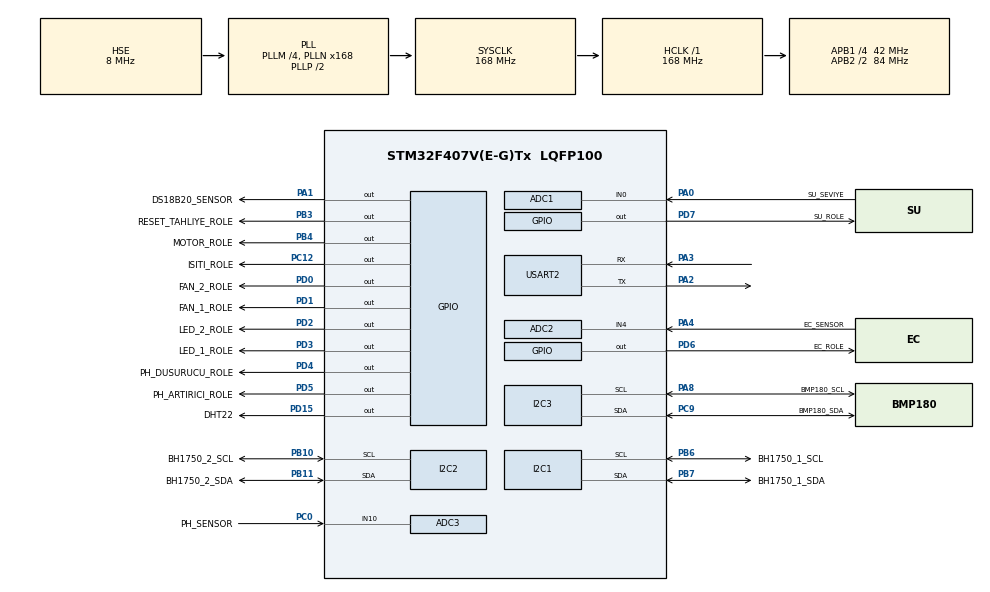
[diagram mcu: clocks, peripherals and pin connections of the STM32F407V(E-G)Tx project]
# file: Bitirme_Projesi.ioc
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ADC1.Channel-0\#ChannelRegularConversion=ADC_CHANNEL_0
ADC1.ClockPrescaler=ADC_CLOCK_SYNC_PCLK_DIV4
ADC1.NbrOfConversionFlag=1
ADC1.Rank-0\#ChannelRegularConversion=1
ADC1.SamplingTime-0\#ChannelRegularConversion=ADC_SAMPLETIME_3CYCLES
ADC1.master=1
ADC2.Channel-4\#ChannelRegularConversion=ADC_CHANNEL_4
ADC2.ClockPrescaler=ADC_CLOCK_SYNC_PCLK_DIV4
ADC2.NbrOfConversionFlag=1
ADC2.Rank-4\#ChannelRegularConversion=1
ADC2.SamplingTime-4\#ChannelRegularConversion=ADC_SAMPLETIME_3CYCLES
ADC3.Channel-1\#ChannelRegularConversion=ADC_CHANNEL_10
ADC3.ClockPrescaler=ADC_CLOCK_SYNC_PCLK_DIV4
ADC3.NbrOfConversionFlag=1
ADC3.Rank-1\#ChannelRegularConversion=1
ADC3.SamplingTime-1\#ChannelRegularConversion=ADC_SAMPLETIME_3CYCLES
I2C1.I2C_Mode=I2C_Fast
Mcu.Family=STM32F4
Mcu.Name=STM32F407V(E-G)Tx
Mcu.Package=LQFP100
NVIC.PriorityGroup=NVIC_PRIORITYGROUP_4
PA0-WKUP.GPIO_Label=SU_SEVIYE
PA0-WKUP.Signal=ADCx_IN0
PA1.GPIO_Label=DS18B20_SENSOR
PA1.Signal=GPIO_Output
PA13.Mode=Serial_Wire
PA13.Signal=SYS_JTMS-SWDIO
PA14.Mode=Serial_Wire
PA14.Signal=SYS_JTCK-SWCLK
PA2.Mode=Asynchronous
PA2.Signal=USART2_TX
PA3.Mode=Asynchronous
PA3.Signal=USART2_RX
PA4.GPIO_Label=EC_SENSOR
PA4.Signal=ADCx_IN4
PA8.GPIO_Label=BMP180_SCL
PA8.Mode=I2C
PA8.Signal=I2C3_SCL
PB10.GPIO_Label=BH1750_2_SCL
PB10.Mode=I2C
PB10.Signal=I2C2_SCL
PB11.GPIO_Label=BH1750_2_SDA
PB11.Mode=I2C
PB11.Signal=I2C2_SDA
PB3.GPIO_Label=RESET_TAHLIYE_ROLE
PB3.Signal=GPIO_Output
PB4.GPIO_Label=MOTOR_ROLE
PB4.Signal=GPIO_Output
PB6.GPIO_Label=BH1750_1_SCL
PB6.Mode=I2C
PB6.Signal=I2C1_SCL
PB7.GPIO_Label=BH1750_1_SDA
PB7.Mode=I2C
PB7.Signal=I2C1_SDA
PC0.GPIO_Label=PH_SENSOR
PC0.Signal=ADCx_IN10
PC12.GPIO_Label=ISITI_ROLE
PC12.Signal=GPIO_Output
PC9.GPIO_Label=BMP180_SDA
PC9.Mode=I2C
PC9.Signal=I2C3_SDA
PD0.GPIO_Label=FAN_2_ROLE
PD0.Signal=GPIO_Output
PD1.GPIO_Label=FAN_1_ROLE
PD1.Signal=GPIO_Output
PD15.GPIO_Label=DHT22
PD15.GPIO_ModeDefaultOutputPP=GPIO_MODE_OUTPUT_OD
PD15.GPIO_PuPd=GPIO_NOPULL
PD15.Signal=GPIO_Output
PD2.GPIO_Label=LED_2_ROLE
PD2.Signal=GPIO_Output
PD3.GPIO_Label=LED_1_ROLE
PD3.Signal=GPIO_Output
PD4.GPIO_Label=PH_DUSURUCU_ROLE
PD4.Signal=GPIO_Output
PD5.GPIO_Label=PH_ARTIRICI_ROLE
PD5.Signal=GPIO_Output
PD6.GPIO_Label=EC_ROLE
PD6.Signal=GPIO_Output
PD7.GPIO_Label=SU_ROLE
PD7.Signal=GPIO_Output
PH0-OSC_IN.Mode=HSE-External-Oscillator
PH0-OSC_IN.Signal=RCC_OSC_IN
PH1-OSC_OUT.Mode=HSE-External-Oscillator
PH1-OSC_OUT.Signal=RCC_OSC_OUT
ProjectManager.HeapSize=0x200
ProjectManager.StackSize=0x400
ProjectManager.TargetToolchain=STM32CubeIDE
RCC.48MHZClocksFreq_Value=84000000
RCC.AHBFreq_Value=168000000
RCC.APB1CLKDivider=RCC_HCLK_DIV4
RCC.APB1Freq_Value=42000000
RCC.APB1TimFreq_Value=84000000
RCC.APB2CLKDivider=RCC_HCLK_DIV2
RCC.APB2Freq_Value=84000000
RCC.APB2TimFreq_Value=168000000
RCC.CortexFreq_Value=168000000
RCC.HCLKFreq_Value=168000000
RCC.HSE_VALUE=8000000
RCC.HSI_VALUE=16000000
RCC.LSE_VALUE=32768
RCC.PLLM=4
RCC.PLLN=168
RCC.PLLSourceVirtual=RCC_PLLSOURCE_HSE
RCC.SYSCLKFreq_VALUE=168000000
RCC.SYSCLKSource=RCC_SYSCLKSOURCE_PLLCLK
RCC.VCOOutputFreq_Value=336000000
SH.ADCx_IN0.0=ADC1_IN0,IN0
SH.ADCx_IN10.0=ADC3_IN10,IN10
SH.ADCx_IN4.0=ADC2_IN4,IN4
TIM6.Period=0xffff-1
TIM6.Prescaler=50-1
USART2.VirtualMode=VM_ASYNC
VP_TIM6_VS_ClockSourceINT.Mode=Enable_Timer
board=custom

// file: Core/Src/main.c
/* USER CODE BEGIN Header */
/**
  ******************************************************************************
  * @file           : main.c
  * @brief          : Main program body
  ******************************************************************************
  * @attention
  *
  * Copyright (c) 2024 STMicroelectronics.
  * All rights reserved.
  *
  * This software is licensed under terms that can be found in the LICENSE file
  * in the root directory of this software component.
  * If no LICENSE file comes with this software, it is provided AS-IS.
  *
  ******************************************************************************
  */
/* USER CODE END Header */
#include "main.h"

/* USER CODE BEGIN Includes */

#include "DS18B20.h"
#include "bh1750.h"
#include "BMP180.h"
#include "dht22.h"
#include "EC.h"

/* USER CODE END Includes */

/* USER CODE BEGIN PM */

/************ BİTKİLERİN OPTİMUM KO�?ULLARI ***************/

#define MARUL_PH_MIN 				 (float)(6.0)
#define MARUL_PH_MAX 				 (float)(7.0)
#define MARUL_EC_MIN 				 (float)(100)
#define MARUL_EC_MAX 				 (float)(260)
#define MARUL_ORTAM_SICAKLIK_MIN 	 (float)(18)
#define MARUL_ORTAM_SICAKLIK_MAX 	 (float)(30)
#define MARUL_ORTAM_NEM_MIN 		 (float)(50)
#define MARUL_ORTAM_NEM_MAX 	     (float)(70)

#define DOMATES_PH_MIN 				 (float)(5.5)
#define DOMATES_PH_MAX 				 (float)(7.0)
#define DOMATES_EC_MIN 				 (float)(100)
#define DOMATES_EC_MAX 				 (float)(150)
#define DOMATES_ORTAM_SICAKLIK_MIN 	 (float)(10.0)
#define DOMATES_ORTAM_SICAKLIK_MAX 	 (float)(30.0)
#define DOMATES_ORTAM_NEM_MIN 		 (float)(60.0)
#define DOMATES_ORTAM_NEM_MAX 		 (float)(70.0)

#define BIBER_PH_MIN 				 (float)(6.0)
#define BIBER_PH_MAX 				 (float)(6.5)
#define BIBER_EC_MIN 				 (float)(90)
#define BIBER_EC_MAX 				 (float)(150)
#define BIBER_ORTAM_SICAKLIK_MIN 	 (float)(15.0)
#define BIBER_ORTAM_SICAKLIK_MAX 	 (float)(35.0)
#define BIBER_ORTAM_NEM_MIN 		 (float)(55.0)
#define BIBER_ORTAM_NEM_MAX 		 (float)(75.0)

#define CILEK_PH_MIN 				 (float)(5.5)
#define CILEK_PH_MAX 				 (float)(6.5)
#define CILEK_EC_MIN 				 (float)(80)
#define CILEK_EC_MAX 				 (float)(110)
#define CILEK_ORTAM_SICAKLIK_MIN 	 (float)(10.0)
#define CILEK_ORTAM_SICAKLIK_MAX 	 (float)(28.0)
#define CILEK_ORTAM_NEM_MIN 		 (float)(60.0)
#define CILEK_ORTAM_NEM_MAX 		 (float)(80.0)

#define SALATALIK_PH_MIN 		     (float)(5.8)
#define SALATALIK_PH_MAX 			 (float)(6.5)
#define SALATALIK_EC_MIN 			 (float)(90)
#define SALATALIK_EC_MAX 			 (float)(150)
#define SALATALIK_ORTAM_SICAKLIK_MIN (float)(15.0)
#define SALATALIK_ORTAM_SICAKLIK_MAX (float)(28.0)
#define SALATALIK_ORTAM_NEM_MIN 	 (float)(55.0)
#define SALATALIK_ORTAM_NEM_MAX 	 (float)(80.0)

#define SU_SEVIYE_MAX				 (float)(2000)

/*******************************************************/

#define LED_16_SAAT  				(uint32_t)(57600000)
#define LED_24_SAAT 				(uint32_t)(86400000)

#define MOTOR_45_DK					(uint32_t)(2700000)
#define MOTOR_2_DK					(uint32_t)(12000)
#define MOTOR_60_DK					(uint32_t)(3600000)

#define FAN_1_DK					(uint32_t)(60000)
#define ISITICI_FAN_1DK				(uint32_t)(60000)
#define RESET_5_SN					(uint32_t)(5000)
#define MAX_ISIK_SIDDETI 			(uint32_t)(7000)

GPIO_PinState Led_Pin_Durum   = GPIO_PIN_SET;
GPIO_PinState Motor_Pin_Durum = GPIO_PIN_SET;

typedef enum
{
	MARUL 		= 1,
	CILEK 		= 2,
	DOMATES 	= 3,
	BIBER 		= 4,
	SALATALIK 	= 5
}Bitki_Cesitleri_t;

typedef struct
{
	float PH_MIN 			  ;
	float PH_MAX 			  ;
	float EC_MIN 			  ;
	float EC_MAX 			  ;
	float ORTAM_SICAKLIK_MIN  ;
	float ORTAM_SICAKLIK_MAX  ;
	float ORTAM_NEM_MIN 	  ;
	float ORTAM_NEM_MAX 	  ;
}Bitki_Parametreleri_t;

Bitki_Parametreleri_t Marul;
Bitki_Parametreleri_t Cilek;
Bitki_Parametreleri_t Domates;
Bitki_Parametreleri_t Biber;
Bitki_Parametreleri_t Salatalik;

typedef struct
{
	float Ortam_Nem			;
	float Ortam_Sicaklik	;
	float Isik_Siddeti_1	;
	float Isik_Siddeti_2	;
	float Su_Sicaklik		;
	float Su_Seviye			;
	float pH				;
	float EC				;
}Bitki_Anlik_Veriler_t;

Bitki_Anlik_Veriler_t Bitki_Anlik_Veriler;

/* USER CODE END PM */

ADC_HandleTypeDef hadc1;
ADC_HandleTypeDef hadc2;
ADC_HandleTypeDef hadc3;

I2C_HandleTypeDef hi2c1;
I2C_HandleTypeDef hi2c2;
I2C_HandleTypeDef hi2c3;

TIM_HandleTypeDef htim6;

UART_HandleTypeDef huart2;

/* USER CODE BEGIN PV */

uint8_t Bitki_Turu;

uint8_t gonderilecek_buffer[24];

//float  DHT22_Ortam_Sicaklik;

const float pH_katsayi_m = 1.6591;
const float pH_katsayi_b = 6.2307;

uint8_t ornek = 0;
uint32_t systicktimer_led   = 0;
uint32_t systicktimer_motor = 0;
uint32_t systictimer_isitici_fan = 0;
uint32_t systicktimer_fan = 0;
uint32_t systicktimer_reset = 0;

/* USER CODE END PV */

void SystemClock_Config(void);
static void MX_GPIO_Init(void);
static void MX_ADC1_Init(void);
static void MX_I2C1_Init(void);
static void MX_I2C2_Init(void);
static void MX_I2C3_Init(void);
static void MX_TIM6_Init(void);
static void MX_ADC2_Init(void);
static void MX_USART2_UART_Init(void);
static void MX_ADC3_Init(void);
/* USER CODE BEGIN PFP */

void Sistem_Init(void);
float Su_Seviye_Degeri_Okuma(void);
float PH_Deger_Okuma(void);
void Parse(void);
void Kontrol(void);
void Role_Kontrol(Bitki_Parametreleri_t* Bitki);
void Motor_Kontrol(void);
void Led_Kontrol(void);
void Anlik_Verileri_Sifirla();

/* USER CODE END PFP */

int main(void)
{

  /* MCU Configuration--------------------------------------------------------*/

  /* Reset of all peripherals, Initializes the Flash interface and the Systick. */
  HAL_Init();

  /* Configure the system clock */
  SystemClock_Config();

  /* Initialize all configured peripherals */
  MX_GPIO_Init();
  MX_ADC1_Init();
  MX_I2C1_Init();
  MX_I2C2_Init();
  MX_I2C3_Init();
  MX_TIM6_Init();
  MX_ADC2_Init();
  MX_USART2_UART_Init();
  MX_ADC3_Init();
  /* USER CODE BEGIN 2 */

  Sistem_Init();

  /* USER CODE END 2 */

  /* Infinite loop */
  while (1)
  {

    /* USER CODE BEGIN 3 */

	  HAL_UART_Receive(&huart2, &Bitki_Turu, 1, 100);

	  for(ornek = 0; ornek < 10; ornek++)
	  {

		 Bitki_Anlik_Veriler.Ortam_Sicaklik += BMP180_Sicaklik_Okuma();

		 Bitki_Anlik_Veriler.Isik_Siddeti_1 += BH1750_ReadLight(&hi2c1);
		 Bitki_Anlik_Veriler.Isik_Siddeti_2 += BH1750_ReadLight(&hi2c2);

		 Bitki_Anlik_Veriler.Su_Sicaklik += DS18B20_ReadValue();

		 Bitki_Anlik_Veriler.Su_Seviye += Su_Seviye_Degeri_Okuma();

		 Bitki_Anlik_Veriler.pH += PH_Deger_Okuma();

		 Bitki_Anlik_Veriler.EC += EC_Get_Value();
	  }

	  Bitki_Anlik_Veriler.Ortam_Sicaklik = Bitki_Anlik_Veriler.Ortam_Sicaklik / 10;

	  Bitki_Anlik_Veriler.Isik_Siddeti_1 = Bitki_Anlik_Veriler.Isik_Siddeti_1 / 10;
	  Bitki_Anlik_Veriler.Isik_Siddeti_2 = Bitki_Anlik_Veriler.Isik_Siddeti_2 / 10;

	  Bitki_Anlik_Veriler.Su_Sicaklik = Bitki_Anlik_Veriler.Su_Sicaklik / 10;

	  Bitki_Anlik_Veriler.Su_Seviye = Bitki_Anlik_Veriler.Su_Seviye / 10;

	  Bitki_Anlik_Veriler.pH = Bitki_Anlik_Veriler.pH / 10;

	  Bitki_Anlik_Veriler.EC = Bitki_Anlik_Veriler.EC / 10;

	  Parse();

	  HAL_UART_Transmit(&huart2, gonderilecek_buffer, sizeof(gonderilecek_buffer), 10);

	  Led_Kontrol();
	  Motor_Kontrol();

	  Anlik_Verileri_Sifirla();
  }

  /* USER CODE END 3 */
}

void SystemClock_Config(void)
{
  RCC_OscInitTypeDef RCC_OscInitStruct = {0};
  RCC_ClkInitTypeDef RCC_ClkInitStruct = {0};

  /** Configure the main internal regulator output voltage
  */
  __HAL_RCC_PWR_CLK_ENABLE();
  __HAL_PWR_VOLTAGESCALING_CONFIG(PWR_REGULATOR_VOLTAGE_SCALE1);

  /** Initializes the RCC Oscillators according to the specified parameters
  * in the RCC_OscInitTypeDef structure.
  */
  RCC_OscInitStruct.OscillatorType = RCC_OSCILLATORTYPE_HSE;
  RCC_OscInitStruct.HSEState = RCC_HSE_ON;
  RCC_OscInitStruct.PLL.PLLState = RCC_PLL_ON;
  RCC_OscInitStruct.PLL.PLLSource = RCC_PLLSOURCE_HSE;
  RCC_OscInitStruct.PLL.PLLM = 4;
  RCC_OscInitStruct.PLL.PLLN = 168;
  RCC_OscInitStruct.PLL.PLLP = RCC_PLLP_DIV2;
  RCC_OscInitStruct.PLL.PLLQ = 4;
  if (HAL_RCC_OscConfig(&RCC_OscInitStruct) != HAL_OK)
  {
    Error_Handler();
  }

  /** Initializes the CPU, AHB and APB buses clocks
  */
  RCC_ClkInitStruct.ClockType = RCC_CLOCKTYPE_HCLK|RCC_CLOCKTYPE_SYSCLK
                              |RCC_CLOCKTYPE_PCLK1|RCC_CLOCKTYPE_PCLK2;
  RCC_ClkInitStruct.SYSCLKSource = RCC_SYSCLKSOURCE_PLLCLK;
  RCC_ClkInitStruct.AHBCLKDivider = RCC_SYSCLK_DIV1;
  RCC_ClkInitStruct.APB1CLKDivider = RCC_HCLK_DIV4;
  RCC_ClkInitStruct.APB2CLKDivider = RCC_HCLK_DIV2;

  if (HAL_RCC_ClockConfig(&RCC_ClkInitStruct, FLASH_LATENCY_5) != HAL_OK)
  {
    Error_Handler();
  }
}

static void MX_ADC1_Init(void)
{

  ADC_ChannelConfTypeDef sConfig = {0};

  /** Configure the global features of the ADC (Clock, Resolution, Data Alignment and number of conversion)
  */
  hadc1.Instance = ADC1;
  hadc1.Init.ClockPrescaler = ADC_CLOCK_SYNC_PCLK_DIV4;
  hadc1.Init.Resolution = ADC_RESOLUTION_12B;
  hadc1.Init.ScanConvMode = DISABLE;
  hadc1.Init.ContinuousConvMode = DISABLE;
  hadc1.Init.DiscontinuousConvMode = DISABLE;
  hadc1.Init.ExternalTrigConvEdge = ADC_EXTERNALTRIGCONVEDGE_NONE;
  hadc1.Init.ExternalTrigConv = ADC_SOFTWARE_START;
  hadc1.Init.DataAlign = ADC_DATAALIGN_RIGHT;
  hadc1.Init.NbrOfConversion = 1;
  hadc1.Init.DMAContinuousRequests = DISABLE;
  hadc1.Init.EOCSelection = ADC_EOC_SINGLE_CONV;
  if (HAL_ADC_Init(&hadc1) != HAL_OK)
  {
    Error_Handler();
  }

  /** Configure for the selected ADC regular channel its corresponding rank in the sequencer and its sample time.
  */
  sConfig.Channel = ADC_CHANNEL_0;
  sConfig.Rank = 1;
  sConfig.SamplingTime = ADC_SAMPLETIME_3CYCLES;
  if (HAL_ADC_ConfigChannel(&hadc1, &sConfig) != HAL_OK)
  {
    Error_Handler();
  }

}

static void MX_ADC2_Init(void)
{

  ADC_ChannelConfTypeDef sConfig = {0};

  /** Configure the global features of the ADC (Clock, Resolution, Data Alignment and number of conversion)
  */
  hadc2.Instance = ADC2;
  hadc2.Init.ClockPrescaler = ADC_CLOCK_SYNC_PCLK_DIV4;
  hadc2.Init.Resolution = ADC_RESOLUTION_12B;
  hadc2.Init.ScanConvMode = DISABLE;
  hadc2.Init.ContinuousConvMode = DISABLE;
  hadc2.Init.DiscontinuousConvMode = DISABLE;
  hadc2.Init.ExternalTrigConvEdge = ADC_EXTERNALTRIGCONVEDGE_NONE;
  hadc2.Init.ExternalTrigConv = ADC_SOFTWARE_START;
  hadc2.Init.DataAlign = ADC_DATAALIGN_RIGHT;
  hadc2.Init.NbrOfConversion = 1;
  hadc2.Init.DMAContinuousRequests = DISABLE;
  hadc2.Init.EOCSelection = ADC_EOC_SINGLE_CONV;
  if (HAL_ADC_Init(&hadc2) != HAL_OK)
  {
    Error_Handler();
  }

  /** Configure for the selected ADC regular channel its corresponding rank in the sequencer and its sample time.
  */
  sConfig.Channel = ADC_CHANNEL_4;
  sConfig.Rank = 1;
  sConfig.SamplingTime = ADC_SAMPLETIME_3CYCLES;
  if (HAL_ADC_ConfigChannel(&hadc2, &sConfig) != HAL_OK)
  {
    Error_Handler();
  }

}

static void MX_ADC3_Init(void)
{

  ADC_ChannelConfTypeDef sConfig = {0};

  /** Configure the global features of the ADC (Clock, Resolution, Data Alignment and number of conversion)
  */
  hadc3.Instance = ADC3;
  hadc3.Init.ClockPrescaler = ADC_CLOCK_SYNC_PCLK_DIV4;
  hadc3.Init.Resolution = ADC_RESOLUTION_12B;
  hadc3.Init.ScanConvMode = DISABLE;
  hadc3.Init.ContinuousConvMode = DISABLE;
  hadc3.Init.DiscontinuousConvMode = DISABLE;
  hadc3.Init.ExternalTrigConvEdge = ADC_EXTERNALTRIGCONVEDGE_NONE;
  hadc3.Init.ExternalTrigConv = ADC_SOFTWARE_START;
  hadc3.Init.DataAlign = ADC_DATAALIGN_RIGHT;
  hadc3.Init.NbrOfConversion = 1;
  hadc3.Init.DMAContinuousRequests = DISABLE;
  hadc3.Init.EOCSelection = ADC_EOC_SINGLE_CONV;
  if (HAL_ADC_Init(&hadc3) != HAL_OK)
  {
    Error_Handler();
  }

  /** Configure for the selected ADC regular channel its corresponding rank in the sequencer and its sample time.
  */
  sConfig.Channel = ADC_CHANNEL_10;
  sConfig.Rank = 1;
  sConfig.SamplingTime = ADC_SAMPLETIME_3CYCLES;
  if (HAL_ADC_ConfigChannel(&hadc3, &sConfig) != HAL_OK)
  {
    Error_Handler();
  }

}

static void MX_I2C1_Init(void)
{

  hi2c1.Instance = I2C1;
  hi2c1.Init.ClockSpeed = 400000;
  hi2c1.Init.DutyCycle = I2C_DUTYCYCLE_2;
  hi2c1.Init.OwnAddress1 = 0;
  hi2c1.Init.AddressingMode = I2C_ADDRESSINGMODE_7BIT;
  hi2c1.Init.DualAddressMode = I2C_DUALADDRESS_DISABLE;
  hi2c1.Init.OwnAddress2 = 0;
  hi2c1.Init.GeneralCallMode = I2C_GENERALCALL_DISABLE;
  hi2c1.Init.NoStretchMode = I2C_NOSTRETCH_DISABLE;
  if (HAL_I2C_Init(&hi2c1) != HAL_OK)
  {
    Error_Handler();
  }

}

static void MX_I2C2_Init(void)
{

  hi2c2.Instance = I2C2;
  hi2c2.Init.ClockSpeed = 100000;
  hi2c2.Init.DutyCycle = I2C_DUTYCYCLE_2;
  hi2c2.Init.OwnAddress1 = 0;
  hi2c2.Init.AddressingMode = I2C_ADDRESSINGMODE_7BIT;
  hi2c2.Init.DualAddressMode = I2C_DUALADDRESS_DISABLE;
  hi2c2.Init.OwnAddress2 = 0;
  hi2c2.Init.GeneralCallMode = I2C_GENERALCALL_DISABLE;
  hi2c2.Init.NoStretchMode = I2C_NOSTRETCH_DISABLE;
  if (HAL_I2C_Init(&hi2c2) != HAL_OK)
  {
    Error_Handler();
  }

}

static void MX_I2C3_Init(void)
{

  hi2c3.Instance = I2C3;
  hi2c3.Init.ClockSpeed = 100000;
  hi2c3.Init.DutyCycle = I2C_DUTYCYCLE_2;
  hi2c3.Init.OwnAddress1 = 0;
  hi2c3.Init.AddressingMode = I2C_ADDRESSINGMODE_7BIT;
  hi2c3.Init.DualAddressMode = I2C_DUALADDRESS_DISABLE;
  hi2c3.Init.OwnAddress2 = 0;
  hi2c3.Init.GeneralCallMode = I2C_GENERALCALL_DISABLE;
  hi2c3.Init.NoStretchMode = I2C_NOSTRETCH_DISABLE;
  if (HAL_I2C_Init(&hi2c3) != HAL_OK)
  {
    Error_Handler();
  }

}

static void MX_TIM6_Init(void)
{

  TIM_MasterConfigTypeDef sMasterConfig = {0};

  htim6.Instance = TIM6;
  htim6.Init.Prescaler = 50-1;
  htim6.Init.CounterMode = TIM_COUNTERMODE_UP;
  htim6.Init.Period = 0xffff-1;
  htim6.Init.AutoReloadPreload = TIM_AUTORELOAD_PRELOAD_DISABLE;
  if (HAL_TIM_Base_Init(&htim6) != HAL_OK)
  {
    Error_Handler();
  }
  sMasterConfig.MasterOutputTrigger = TIM_TRGO_RESET;
  sMasterConfig.MasterSlaveMode = TIM_MASTERSLAVEMODE_DISABLE;
  if (HAL_TIMEx_MasterConfigSynchronization(&htim6, &sMasterConfig) != HAL_OK)
  {
    Error_Handler();
  }

}

static void MX_USART2_UART_Init(void)
{

  huart2.Instance = USART2;
  huart2.Init.BaudRate = 115200;
  huart2.Init.WordLength = UART_WORDLENGTH_8B;
  huart2.Init.StopBits = UART_STOPBITS_1;
  huart2.Init.Parity = UART_PARITY_NONE;
  huart2.Init.Mode = UART_MODE_TX_RX;
  huart2.Init.HwFlowCtl = UART_HWCONTROL_NONE;
  huart2.Init.OverSampling = UART_OVERSAMPLING_16;
  if (HAL_UART_Init(&huart2) != HAL_OK)
  {
    Error_Handler();
  }

}

static void MX_GPIO_Init(void)
{
  GPIO_InitTypeDef GPIO_InitStruct = {0};

  /* GPIO Ports Clock Enable */
  __HAL_RCC_GPIOH_CLK_ENABLE();
  __HAL_RCC_GPIOC_CLK_ENABLE();
  __HAL_RCC_GPIOA_CLK_ENABLE();
  __HAL_RCC_GPIOB_CLK_ENABLE();
  __HAL_RCC_GPIOD_CLK_ENABLE();

  /*Configure GPIO pin Output Level */
  HAL_GPIO_WritePin(DS18B20_SENSOR_GPIO_Port, DS18B20_SENSOR_Pin, GPIO_PIN_RESET);

  /*Configure GPIO pin Output Level */
  HAL_GPIO_WritePin(GPIOD, DHT22_Pin|FAN_2_ROLE_Pin|FAN_1_ROLE_Pin|LED_2_ROLE_Pin
                          |LED_1_ROLE_Pin|PH_DUSURUCU_ROLE_Pin|PH_ARTIRICI_ROLE_Pin|EC_ROLE_Pin
                          |SU_ROLE_Pin, GPIO_PIN_RESET);

  /*Configure GPIO pin Output Level */
  HAL_GPIO_WritePin(ISITI_ROLE_GPIO_Port, ISITI_ROLE_Pin, GPIO_PIN_RESET);

  /*Configure GPIO pin Output Level */
  HAL_GPIO_WritePin(GPIOB, RESET_TAHLIYE_ROLE_Pin|MOTOR_ROLE_Pin, GPIO_PIN_RESET);

  /*Configure GPIO pin : DS18B20_SENSOR_Pin */
  GPIO_InitStruct.Pin = DS18B20_SENSOR_Pin;
  GPIO_InitStruct.Mode = GPIO_MODE_OUTPUT_PP;
  GPIO_InitStruct.Pull = GPIO_NOPULL;
  GPIO_InitStruct.Speed = GPIO_SPEED_FREQ_LOW;
  HAL_GPIO_Init(DS18B20_SENSOR_GPIO_Port, &GPIO_InitStruct);

  /*Configure GPIO pin : DHT22_Pin */
  GPIO_InitStruct.Pin = DHT22_Pin;
  GPIO_InitStruct.Mode = GPIO_MODE_OUTPUT_OD;
  GPIO_InitStruct.Pull = GPIO_NOPULL;
  GPIO_InitStruct.Speed = GPIO_SPEED_FREQ_LOW;
  HAL_GPIO_Init(DHT22_GPIO_Port, &GPIO_InitStruct);

  /*Configure GPIO pin : ISITI_ROLE_Pin */
  GPIO_InitStruct.Pin = ISITI_ROLE_Pin;
  GPIO_InitStruct.Mode = GPIO_MODE_OUTPUT_PP;
  GPIO_InitStruct.Pull = GPIO_NOPULL;
  GPIO_InitStruct.Speed = GPIO_SPEED_FREQ_LOW;
  HAL_GPIO_Init(ISITI_ROLE_GPIO_Port, &GPIO_InitStruct);

  /*Configure GPIO pins : FAN_2_ROLE_Pin FAN_1_ROLE_Pin LED_2_ROLE_Pin LED_1_ROLE_Pin
                           PH_DUSURUCU_ROLE_Pin PH_ARTIRICI_ROLE_Pin EC_ROLE_Pin SU_ROLE_Pin */
  GPIO_InitStruct.Pin = FAN_2_ROLE_Pin|FAN_1_ROLE_Pin|LED_2_ROLE_Pin|LED_1_ROLE_Pin
                          |PH_DUSURUCU_ROLE_Pin|PH_ARTIRICI_ROLE_Pin|EC_ROLE_Pin|SU_ROLE_Pin;
  GPIO_InitStruct.Mode = GPIO_MODE_OUTPUT_PP;
  GPIO_InitStruct.Pull = GPIO_NOPULL;
  GPIO_InitStruct.Speed = GPIO_SPEED_FREQ_LOW;
  HAL_GPIO_Init(GPIOD, &GPIO_InitStruct);

  /*Configure GPIO pins : RESET_TAHLIYE_ROLE_Pin MOTOR_ROLE_Pin */
  GPIO_InitStruct.Pin = RESET_TAHLIYE_ROLE_Pin|MOTOR_ROLE_Pin;
  GPIO_InitStruct.Mode = GPIO_MODE_OUTPUT_PP;
  GPIO_InitStruct.Pull = GPIO_NOPULL;
  GPIO_InitStruct.Speed = GPIO_SPEED_FREQ_LOW;
  HAL_GPIO_Init(GPIOB, &GPIO_InitStruct);

}

/* USER CODE BEGIN 4 */

/**
  * @brief  Sistemin İlk Ayarlarını Yapar.
  *
  * @param  void
  *
  * @retval void
  */

void Sistem_Init(void)
{
	/* MARUL */
	Marul.PH_MIN 				    = MARUL_PH_MIN;
	Marul.PH_MAX 				    = MARUL_PH_MAX;
	Marul.EC_MIN 				    = MARUL_EC_MIN;
	Marul.EC_MAX 				    = MARUL_EC_MAX;
	Marul.ORTAM_SICAKLIK_MIN 	    = MARUL_ORTAM_SICAKLIK_MIN;
	Marul.ORTAM_SICAKLIK_MAX 	    = MARUL_ORTAM_SICAKLIK_MAX;
	Marul.ORTAM_NEM_MIN 		    = MARUL_ORTAM_NEM_MIN;
	Marul.ORTAM_NEM_MAX 		    = MARUL_ORTAM_NEM_MAX;

	/* CILEK */
	Cilek.PH_MIN 				    = CILEK_PH_MIN;
	Cilek.PH_MAX 				    = CILEK_PH_MAX;
	Cilek.EC_MIN 				    = CILEK_EC_MIN;
	Cilek.EC_MAX 				    = CILEK_EC_MAX;
	Cilek.ORTAM_SICAKLIK_MIN 	    = CILEK_ORTAM_SICAKLIK_MIN;
	Cilek.ORTAM_SICAKLIK_MAX 	    = CILEK_ORTAM_SICAKLIK_MAX;
	Cilek.ORTAM_NEM_MIN 		    = CILEK_ORTAM_NEM_MIN;
	Cilek.ORTAM_NEM_MAX 		    = CILEK_ORTAM_NEM_MAX;

	/* DOMATES */
	Domates.PH_MIN 					= DOMATES_PH_MIN;
	Domates.PH_MAX 					= DOMATES_PH_MAX;
	Domates.EC_MIN 					= DOMATES_EC_MIN;
	Domates.EC_MAX 					= DOMATES_EC_MAX;
	Domates.ORTAM_SICAKLIK_MIN 		= DOMATES_ORTAM_SICAKLIK_MIN;
	Domates.ORTAM_SICAKLIK_MAX 		= DOMATES_ORTAM_SICAKLIK_MAX;
	Domates.ORTAM_NEM_MIN 			= DOMATES_ORTAM_NEM_MIN;
	Domates.ORTAM_NEM_MAX 			= DOMATES_ORTAM_NEM_MAX;

	/* BIBER */
	Biber.PH_MIN 				    = BIBER_PH_MIN;
	Biber.PH_MAX 				    = BIBER_PH_MAX;
	Biber.EC_MIN 				    = BIBER_EC_MIN;
	Biber.EC_MAX 				    = BIBER_EC_MAX;
	Biber.ORTAM_SICAKLIK_MIN 	    = BIBER_ORTAM_SICAKLIK_MIN;
	Biber.ORTAM_SICAKLIK_MAX 	    = BIBER_ORTAM_SICAKLIK_MAX;
	Biber.ORTAM_NEM_MIN 		    = BIBER_ORTAM_NEM_MIN;
	Biber.ORTAM_NEM_MAX 		    = BIBER_ORTAM_NEM_MAX;

	/* SALATALIK */
	Salatalik.PH_MIN 				= SALATALIK_PH_MIN;
	Salatalik.PH_MAX 				= SALATALIK_PH_MAX;
	Salatalik.EC_MIN 				= SALATALIK_EC_MIN;
	Salatalik.EC_MAX 				= SALATALIK_EC_MAX;
	Salatalik.ORTAM_SICAKLIK_MIN 	= SALATALIK_ORTAM_SICAKLIK_MIN;
	Salatalik.ORTAM_SICAKLIK_MAX 	= SALATALIK_ORTAM_SICAKLIK_MAX;
	Salatalik.ORTAM_NEM_MIN 		= SALATALIK_ORTAM_NEM_MIN;
	Salatalik.ORTAM_NEM_MAX 		= SALATALIK_ORTAM_NEM_MAX;

	BH1750_Init(&hi2c1);
	BH1750_SetMode(&hi2c1, CONTINUOUS_HIGH_RES_MODE_2);
	BH1750_Init(&hi2c2);
	BH1750_SetMode(&hi2c2, CONTINUOUS_HIGH_RES_MODE_2);
	BMP180_Init();
	//DHT22_Init();

	HAL_TIM_Base_Start(&htim6);
	HAL_Delay(2000);

	SysTick_Config(SystemCoreClock / 1000); 						   // Systicktimer 1ms ayarlandı.

	HAL_GPIO_WritePin(GPIOD, GPIO_PIN_2 | GPIO_PIN_3, Led_Pin_Durum);  // LED ilk durum için açıldı
}

/**
  * @brief  Su Seviye Sensöründen Veri Okur.
  *
  * @param  void
  *
  * @retval Su Seviye Değeri
  */

float Su_Seviye_Degeri_Okuma()
{
	float temp_seviye_Degeri = 0;

	HAL_ADC_Start(&hadc1);

	if(HAL_ADC_PollForConversion(&hadc1, 100000) == HAL_OK)
	{
		temp_seviye_Degeri = HAL_ADC_GetValue(&hadc1);
	}
	HAL_ADC_Stop(&hadc1);

	return temp_seviye_Degeri;
}

/**
  * @brief  pH Sensöründen Veri Okur.
  *
  * @param  void
  *
  * @retval pH Değeri
  */

float PH_Deger_Okuma()
{
	uint16_t PH_adc = 0;
	float temp = 0;
	HAL_ADC_Start(&hadc3);

	if(HAL_ADC_PollForConversion(&hadc3, 100000) == HAL_OK)
	{
		PH_adc = HAL_ADC_GetValue(&hadc3);
		temp = (pH_katsayi_m * (PH_adc * (5.0 / 4095.0) ) + pH_katsayi_b);
	}
	HAL_ADC_Stop(&hadc3);

	return temp;
}

/**
  * @brief  Okunan Sensör Verilerini ESP32'ye Gönderebilmek İçin
  * 		Parse İşlemine Tabi Tutar.
  *
  * @param  void
  *
  * @retval void
  */

void Parse(void)
{
	/* DHT22 */
	gonderilecek_buffer[0] = (uint8_t) Bitki_Anlik_Veriler.Ortam_Nem;
	gonderilecek_buffer[1] = (uint8_t)((Bitki_Anlik_Veriler.Ortam_Nem - (float)gonderilecek_buffer[0]) * 100);

	/* BMP180 */
	gonderilecek_buffer[2] = (uint8_t) Bitki_Anlik_Veriler.Ortam_Sicaklik;
	gonderilecek_buffer[3] = (uint8_t)((Bitki_Anlik_Veriler.Ortam_Sicaklik - (float)gonderilecek_buffer[2]) * 100);

	/* BH1750  1 */
	gonderilecek_buffer[4] = (uint8_t) ((uint32_t)Bitki_Anlik_Veriler.Isik_Siddeti_1 / 10000          );
	gonderilecek_buffer[5] = (uint8_t) (((uint32_t)Bitki_Anlik_Veriler.Isik_Siddeti_1 % 10000) / 1000 );
	gonderilecek_buffer[6] = (uint8_t) (((uint32_t)Bitki_Anlik_Veriler.Isik_Siddeti_1 % 1000) / 100   );
	gonderilecek_buffer[7] = (uint8_t) (((uint32_t)Bitki_Anlik_Veriler.Isik_Siddeti_1 % 100) / 10     );
	gonderilecek_buffer[8] = (uint8_t) ((uint32_t)Bitki_Anlik_Veriler.Isik_Siddeti_1 % 10             );

	/* BH1750  2 */
	gonderilecek_buffer[9]  = (uint8_t) ((uint32_t)Bitki_Anlik_Veriler.Isik_Siddeti_2 / 10000          );
	gonderilecek_buffer[10] = (uint8_t) (((uint32_t)Bitki_Anlik_Veriler.Isik_Siddeti_2 % 10000) / 1000 );
	gonderilecek_buffer[11] = (uint8_t) (((uint32_t)Bitki_Anlik_Veriler.Isik_Siddeti_2 % 1000) / 100   );
	gonderilecek_buffer[12] = (uint8_t) (((uint32_t)Bitki_Anlik_Veriler.Isik_Siddeti_2 % 100) / 10     );
	gonderilecek_buffer[13] = (uint8_t) ((uint32_t)Bitki_Anlik_Veriler.Isik_Siddeti_2 % 10             );

	/* DS18B20 */
	gonderilecek_buffer[14] = (uint8_t) Bitki_Anlik_Veriler.Su_Sicaklik;
	gonderilecek_buffer[15] = (uint8_t)((Bitki_Anlik_Veriler.Su_Sicaklik - (float)gonderilecek_buffer[14]) * 100);

	/* SU SEVİYE */
	gonderilecek_buffer[16] = (uint8_t) ((uint32_t)Bitki_Anlik_Veriler.Su_Seviye / 1000         );
	gonderilecek_buffer[17] = (uint8_t) (((uint32_t)Bitki_Anlik_Veriler.Su_Seviye % 1000) / 100 );
	gonderilecek_buffer[18] = (uint8_t) (((uint32_t)Bitki_Anlik_Veriler.Su_Seviye % 100) / 10   );
	gonderilecek_buffer[19] = (uint8_t) (((uint32_t)Bitki_Anlik_Veriler.Su_Seviye % 10)         );

	/* PH */
	gonderilecek_buffer[20] = (uint8_t) Bitki_Anlik_Veriler.pH;
	gonderilecek_buffer[21] = (uint8_t)((Bitki_Anlik_Veriler.pH - (float)gonderilecek_buffer[20]) * 100);

	/* EC */
	gonderilecek_buffer[22] = (uint8_t) Bitki_Anlik_Veriler.EC;
	gonderilecek_buffer[23] = (uint8_t)((Bitki_Anlik_Veriler.EC - (float)gonderilecek_buffer[22]) * 100);

}

/**
  * @brief  Seçilen Bitki Türüne Göre Çözelti Değerlerini
  * 		Ayarlamak İçin Role_Kontrol Fonksiyonu Çağrılır.
  *
  * @param  void
  *
  * @retval void
  */

void Kontrol(void)
{
	  switch(Bitki_Turu)
	  {
	  case MARUL:
		  Role_Kontrol(&Marul);
		  break;
	  case CILEK:
		  Role_Kontrol(&Cilek);
		  break;
	  case DOMATES:
		  Role_Kontrol(&Domates);
		  break;
	  case BIBER:
		  Role_Kontrol(&Biber);
		  break;
	  case SALATALIK:
		  Role_Kontrol(&Salatalik);
		  break;
	  default:
		  Role_Kontrol(&Marul);
		  break;
	  }
}

/**
  * @brief  Gönderilen Bitki Çeşidinin Türüne Göre Gerekli Optimum
  * 		Koşulları Sağlamak İçin İlgili Motorlar Açılıp Kapanır.
  *
  * @param  *Bitki Bitki Çeşidi
  *
  * @retval void
  */

void Role_Kontrol(Bitki_Parametreleri_t* Bitki)
{
	  if(Bitki_Anlik_Veriler.pH < Bitki->PH_MIN)
	  {
		  HAL_GPIO_WritePin(GPIOD, GPIO_PIN_5, GPIO_PIN_SET); 					// pH Artırıcı Aç
		  HAL_Delay(300);
		  HAL_GPIO_WritePin(GPIOD, GPIO_PIN_5, GPIO_PIN_RESET); 				// pH Artırıcı Kapat
	  }
	  else if(Bitki_Anlik_Veriler.pH > Bitki->PH_MAX)
	  {
		  HAL_GPIO_WritePin(GPIOD, GPIO_PIN_4, GPIO_PIN_SET); 					// pH Düşürücü Aç
		  HAL_Delay(300);
		  HAL_GPIO_WritePin(GPIOD, GPIO_PIN_4, GPIO_PIN_RESET); 				// pH Düşürücü Kapat
	  }
	  if(Bitki_Anlik_Veriler.EC < Bitki->EC_MIN)
	  {
		  HAL_GPIO_WritePin(GPIOD, GPIO_PIN_6, GPIO_PIN_SET); 					// EC Aç
		  HAL_Delay(300);
		  HAL_GPIO_WritePin(GPIOD, GPIO_PIN_6, GPIO_PIN_RESET); 				// EC Kapat
	  }
	  else if(Bitki_Anlik_Veriler.EC > Bitki->EC_MAX)
	  {
		  HAL_GPIO_WritePin(GPIOD, GPIO_PIN_7, GPIO_PIN_SET); 					// Su Aç
		  HAL_Delay(300);
		  HAL_GPIO_WritePin(GPIOD, GPIO_PIN_7, GPIO_PIN_RESET); 				// Su Kapat
	  }
	  if(Bitki_Anlik_Veriler.Ortam_Sicaklik < Bitki->ORTAM_SICAKLIK_MIN)
	  {
		  HAL_GPIO_WritePin(GPIOC, GPIO_PIN_12, GPIO_PIN_SET); 					// Isıtıcı Fan Aç
		  systictimer_isitici_fan = 0;

	  }
	  else if(Bitki_Anlik_Veriler.Ortam_Sicaklik > Bitki->ORTAM_SICAKLIK_MAX)
	  {
		  HAL_GPIO_WritePin(GPIOD, GPIO_PIN_0 | GPIO_PIN_1, GPIO_PIN_SET); 	    // Fan1 Fan2 Aç
		  systicktimer_fan = 0;
	  }

	  if(Bitki_Anlik_Veriler.Su_Seviye > SU_SEVIYE_MAX)
	  {
		  HAL_GPIO_WritePin(GPIOB, GPIO_PIN_3, GPIO_PIN_SET); 				    // Reset Aç
		  systicktimer_reset = 0;
	  }

	  if(systictimer_isitici_fan > ISITICI_FAN_1DK )
	 	  {
	 		  HAL_GPIO_WritePin(GPIOC, GPIO_PIN_12, GPIO_PIN_RESET); 				// Isıtıcı Fan Kapat
	 	  }
	 	  if(systicktimer_fan > FAN_1_DK )
	 	  {
	 		  HAL_GPIO_WritePin(GPIOD, GPIO_PIN_0 |GPIO_PIN_1, GPIO_PIN_RESET);     // Fan1 Fan2 Kapat
	 	  }
	 	  if(systicktimer_reset > RESET_5_SN)
	 	  {
	 		  HAL_GPIO_WritePin(GPIOB, GPIO_PIN_3 , GPIO_PIN_RESET); 			    // Reset Kapat
	 	  }
}

/**
  * @brief  LED'lerin Günün 16 Saati Boyunca Aktif Edilmesini
  * 		ve Geri Kalan 8 Saatini Deaktif Edilmesinin Kontrolünü Sağlar.
  *
  * @param  void
  *
  * @retval void
  */

void Led_Kontrol(void)
{
	Led_Pin_Durum = (Bitki_Anlik_Veriler.Isik_Siddeti_1 > MAX_ISIK_SIDDETI) ? GPIO_PIN_RESET : GPIO_PIN_SET;

	HAL_GPIO_WritePin(GPIOD,GPIO_PIN_2 | GPIO_PIN_3 ,Led_Pin_Durum);

	if(systicktimer_led >= LED_16_SAAT && systicktimer_led < LED_24_SAAT)
	{
		Led_Pin_Durum = GPIO_PIN_RESET;
		HAL_GPIO_WritePin(GPIOD,GPIO_PIN_2 | GPIO_PIN_3 ,Led_Pin_Durum);
	}
	else if(systicktimer_led >= LED_24_SAAT)
	{
	  systicktimer_led = 0;
	  Led_Pin_Durum = GPIO_PIN_SET;
	}
}

/**
  * @brief  Motorun Saatin 45 Dakika Boyunca Aktif Edilmesini
  * 		ve Geri Kalan 15 Saatini Deaktif Edilmesinin Kontrolünü Sağlar.
  * 		Deaktif Sırasında Çözeltinin Kontrolü Yapılmak Üzere Kontrol
  * 		Fonksiyonu Çağrılır.
  *
  * @param  void
  *
  * @retval void
  */

void Motor_Kontrol(void)
{

	HAL_GPIO_WritePin(GPIOB,GPIO_PIN_4,Motor_Pin_Durum);

	if(systicktimer_motor >= MOTOR_45_DK && systicktimer_motor < MOTOR_60_DK)
	{

		HAL_GPIO_WritePin(GPIOB,GPIO_PIN_4, GPIO_PIN_RESET);

		Motor_Pin_Durum = GPIO_PIN_RESET;
		if(systicktimer_motor >= MOTOR_45_DK + MOTOR_2_DK)
		{
			Kontrol();
		}
	}
	else if(systicktimer_motor >= MOTOR_60_DK)
	{
		systicktimer_motor = 0;
		Motor_Pin_Durum = GPIO_PIN_SET;

	 	HAL_GPIO_WritePin(GPIOC, GPIO_PIN_12, GPIO_PIN_RESET); 				// Isıtıcı Fan Kapat
	    HAL_GPIO_WritePin(GPIOD, GPIO_PIN_0 |GPIO_PIN_1, GPIO_PIN_RESET);     // Fan1 Fan2 Kapat
	 	HAL_GPIO_WritePin(GPIOB, GPIO_PIN_3 , GPIO_PIN_RESET); 			    // Reset Kapat

	}
}

/**
  * @brief Bitkinin Anlık Verileri Sıfırlanır.
  *
  * @param  void
  *
  * @retval void
  */

void Anlik_Verileri_Sifirla()
{
	  Bitki_Anlik_Veriler.EC 			 = 0;
	  Bitki_Anlik_Veriler.Isik_Siddeti_1 = 0;
	  Bitki_Anlik_Veriler.Isik_Siddeti_2 = 0;
	  Bitki_Anlik_Veriler.Ortam_Nem 	 = 0;
	  Bitki_Anlik_Veriler.Ortam_Sicaklik = 0;
	  Bitki_Anlik_Veriler.Su_Seviye 	 = 0;
	  Bitki_Anlik_Veriler.Su_Sicaklik 	 = 0;
	  Bitki_Anlik_Veriler.pH 			 = 0;
}

/* USER CODE END 4 */

void Error_Handler(void)
{
  __disable_irq();
  while (1)
  {
  }
}
